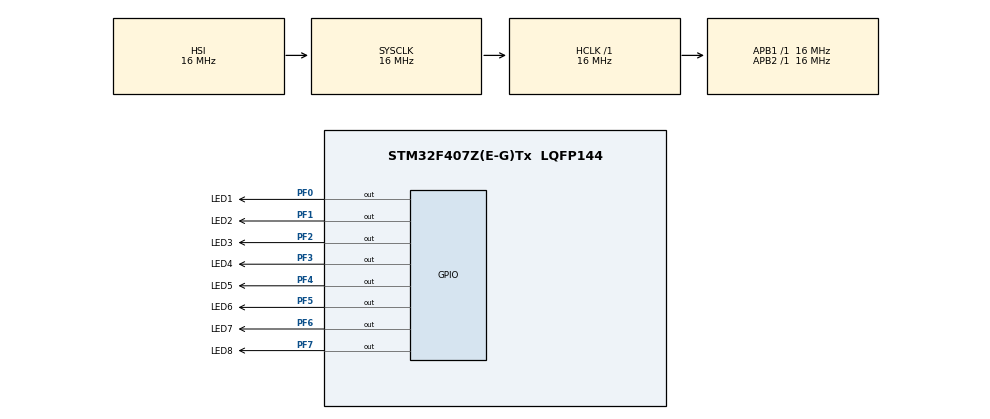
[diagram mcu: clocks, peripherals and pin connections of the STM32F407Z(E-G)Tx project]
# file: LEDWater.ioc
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Mcu.Family=STM32F4
Mcu.Name=STM32F407Z(E-G)Tx
Mcu.Package=LQFP144
NVIC.PriorityGroup=NVIC_PRIORITYGROUP_4
PF0.GPIO_Label=LED1
PF0.PinState=GPIO_PIN_SET
PF0.Signal=GPIO_Output
PF1.GPIO_Label=LED2
PF1.PinState=GPIO_PIN_SET
PF1.Signal=GPIO_Output
PF2.GPIO_Label=LED3
PF2.PinState=GPIO_PIN_SET
PF2.Signal=GPIO_Output
PF3.GPIO_Label=LED4
PF3.PinState=GPIO_PIN_SET
PF3.Signal=GPIO_Output
PF4.GPIO_Label=LED5
PF4.PinState=GPIO_PIN_SET
PF4.Signal=GPIO_Output
PF5.GPIO_Label=LED6
PF5.PinState=GPIO_PIN_SET
PF5.Signal=GPIO_Output
PF6.GPIO_Label=LED7
PF6.PinState=GPIO_PIN_SET
PF6.Signal=GPIO_Output
PF7.GPIO_Label=LED8
PF7.PinState=GPIO_PIN_SET
PF7.Signal=GPIO_Output
ProjectManager.HeapSize=0x200
ProjectManager.StackSize=0x400
ProjectManager.TargetToolchain=MDK-ARM V5.32
RCC.AHBFreq_Value=16000000
RCC.APB1Freq_Value=16000000
RCC.APB2Freq_Value=16000000
RCC.CortexFreq_Value=16000000
RCC.HSE_VALUE=25000000
RCC.HSI_VALUE=16000000
RCC.LSE_VALUE=32768
RCC.SYSCLKFreq_VALUE=16000000
RCC.VCOOutputFreq_Value=192000000
board=custom

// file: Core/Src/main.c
/* USER CODE BEGIN Header */
/**
  ******************************************************************************
  * @file           : main.c
  * @brief          : Main program body
  ******************************************************************************
  * @attention
  *
  * Copyright (c) 2026 STMicroelectronics.
  * All rights reserved.
  *
  * This software is licensed under terms that can be found in the LICENSE file
  * in the root directory of this software component.
  * If no LICENSE file comes with this software, it is provided AS-IS.
  *
  ******************************************************************************
  */
/* USER CODE END Header */
#include "main.h"

void SystemClock_Config(void);
static void MX_GPIO_Init(void);

/* USER CODE BEGIN 0 */
void delay(uint32_t i)
{
    while(i--);
}

/* USER CODE END 0 */

int main(void)
{

  /* MCU Configuration--------------------------------------------------------*/

  /* Reset of all peripherals, Initializes the Flash interface and the Systick. */
  HAL_Init();

  /* Configure the system clock */
  SystemClock_Config();

  /* Initialize all configured peripherals */
  MX_GPIO_Init();

  /* Infinite loop */
  /* USER CODE BEGIN WHILE */
  while (1)
  {
		      GPIOF->ODR = 0xFE; // ?? PF0
      delay(5000000);
      GPIOF->ODR = 0xFD; // ?? PF1
      delay(5000000);
      GPIOF->ODR = 0xFB; // ?? PF2
      delay(5000000);
      GPIOF->ODR = 0xF7; // ?? PF3
      delay(5000000);
      GPIOF->ODR = 0xEF; // ?? PF4
      delay(5000000);
      GPIOF->ODR = 0xDF; // ?? PF5
      delay(5000000);
      GPIOF->ODR = 0xBF; // ?? PF6
      delay(5000000);
      GPIOF->ODR = 0x7F; // ?? PF7
      delay(5000000);
    /* USER CODE END WHILE */

  }
}

void SystemClock_Config(void)
{
  RCC_OscInitTypeDef RCC_OscInitStruct = {0};
  RCC_ClkInitTypeDef RCC_ClkInitStruct = {0};

  /** Configure the main internal regulator output voltage
  */
  __HAL_RCC_PWR_CLK_ENABLE();
  __HAL_PWR_VOLTAGESCALING_CONFIG(PWR_REGULATOR_VOLTAGE_SCALE1);

  /** Initializes the RCC Oscillators according to the specified parameters
  * in the RCC_OscInitTypeDef structure.
  */
  RCC_OscInitStruct.OscillatorType = RCC_OSCILLATORTYPE_HSI;
  RCC_OscInitStruct.HSIState = RCC_HSI_ON;
  RCC_OscInitStruct.HSICalibrationValue = RCC_HSICALIBRATION_DEFAULT;
  RCC_OscInitStruct.PLL.PLLState = RCC_PLL_NONE;
  if (HAL_RCC_OscConfig(&RCC_OscInitStruct) != HAL_OK)
  {
    Error_Handler();
  }

  /** Initializes the CPU, AHB and APB buses clocks
  */
  RCC_ClkInitStruct.ClockType = RCC_CLOCKTYPE_HCLK|RCC_CLOCKTYPE_SYSCLK
                              |RCC_CLOCKTYPE_PCLK1|RCC_CLOCKTYPE_PCLK2;
  RCC_ClkInitStruct.SYSCLKSource = RCC_SYSCLKSOURCE_HSI;
  RCC_ClkInitStruct.AHBCLKDivider = RCC_SYSCLK_DIV1;
  RCC_ClkInitStruct.APB1CLKDivider = RCC_HCLK_DIV1;
  RCC_ClkInitStruct.APB2CLKDivider = RCC_HCLK_DIV1;

  if (HAL_RCC_ClockConfig(&RCC_ClkInitStruct, FLASH_LATENCY_0) != HAL_OK)
  {
    Error_Handler();
  }
}

static void MX_GPIO_Init(void)
{
  GPIO_InitTypeDef GPIO_InitStruct = {0};

  /* GPIO Ports Clock Enable */
  __HAL_RCC_GPIOF_CLK_ENABLE();

  /*Configure GPIO pin Output Level */
  HAL_GPIO_WritePin(GPIOF, LED1_Pin|LED2_Pin|LED3_Pin|LED4_Pin
                          |LED5_Pin|LED6_Pin|LED7_Pin|LED8_Pin, GPIO_PIN_SET);

  /*Configure GPIO pins : LED1_Pin LED2_Pin LED3_Pin LED4_Pin
                           LED5_Pin LED6_Pin LED7_Pin LED8_Pin */
  GPIO_InitStruct.Pin = LED1_Pin|LED2_Pin|LED3_Pin|LED4_Pin
                          |LED5_Pin|LED6_Pin|LED7_Pin|LED8_Pin;
  GPIO_InitStruct.Mode = GPIO_MODE_OUTPUT_PP;
  GPIO_InitStruct.Pull = GPIO_NOPULL;
  GPIO_InitStruct.Speed = GPIO_SPEED_FREQ_LOW;
  HAL_GPIO_Init(GPIOF, &GPIO_InitStruct);

}

void Error_Handler(void)
{
  __disable_irq();
  while (1)
  {
  }
}
